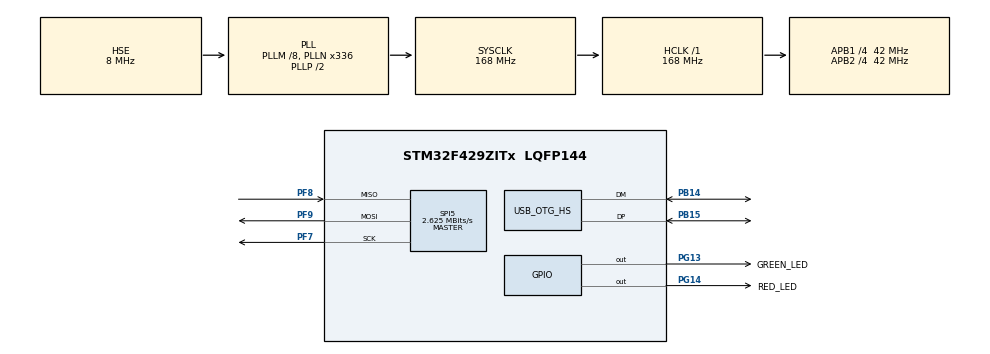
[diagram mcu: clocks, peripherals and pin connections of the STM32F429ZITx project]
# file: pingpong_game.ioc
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FREERTOS.Tasks01=Task01,0,216,Task01_Init,Default,NULL,Dynamic,NULL,NULL;Task02,0,216,Task02_Init,Default,NULL,Dynamic,NULL,NULL;Task03,0,216,Task03_Init,Default,NULL,Dynamic,NULL,NULL;Task04,0,216,Task04_Init,Default,NULL,Dynamic,NULL,NULL;Task05,0,216,Task05_Init,Default,NULL,Dynamic,NULL,NULL
FREERTOS.configUSE_NEWLIB_REENTRANT=1
Mcu.Family=STM32F4
Mcu.Name=STM32F429ZITx
Mcu.Package=LQFP144
NVIC.OTG_HS_IRQn=true\:5\:0\:false\:false\:true\:true\:true\:true\:true
NVIC.PriorityGroup=NVIC_PRIORITYGROUP_4
NVIC.SPI5_IRQn=true\:5\:0\:false\:false\:true\:true\:true\:true\:true
NVIC.TIM6_DAC_IRQn=true\:15\:0\:false\:false\:true\:false\:false\:true\:true
NVIC.TimeBase=TIM6_DAC_IRQn
NVIC.TimeBaseIP=TIM6
PA13.Mode=Serial_Wire
PA13.Signal=SYS_JTMS-SWDIO
PA14.Mode=Serial_Wire
PA14.Signal=SYS_JTCK-SWCLK
PB14.Mode=Device_Only_FS
PB14.Signal=USB_OTG_HS_DM
PB15.Mode=Device_Only_FS
PB15.Signal=USB_OTG_HS_DP
PF7.Mode=Full_Duplex_Master
PF7.Signal=SPI5_SCK
PF8.Mode=Full_Duplex_Master
PF8.Signal=SPI5_MISO
PF9.Mode=Full_Duplex_Master
PF9.Signal=SPI5_MOSI
PG13.GPIO_Label=GREEN_LED
PG13.GPIO_Speed=GPIO_SPEED_FREQ_HIGH
PG13.Signal=GPIO_Output
PG14.GPIO_Label=RED_LED
PG14.GPIO_Speed=GPIO_SPEED_FREQ_HIGH
PG14.Signal=GPIO_Output
PH0/OSC_IN.Mode=HSE-External-Oscillator
PH0/OSC_IN.Signal=RCC_OSC_IN
PH1/OSC_OUT.Mode=HSE-External-Oscillator
PH1/OSC_OUT.Signal=RCC_OSC_OUT
ProjectManager.HeapSize=0x2000
ProjectManager.StackSize=0x4000
ProjectManager.TargetToolchain=STM32CubeIDE
RCC.48MHZClocksFreq_Value=48000000
RCC.AHBFreq_Value=168000000
RCC.APB1CLKDivider=RCC_HCLK_DIV4
RCC.APB1Freq_Value=42000000
RCC.APB1TimFreq_Value=84000000
RCC.APB2CLKDivider=RCC_HCLK_DIV4
RCC.APB2Freq_Value=42000000
RCC.APB2TimFreq_Value=84000000
RCC.CortexFreq_Value=168000000
RCC.HCLKFreq_Value=168000000
RCC.HSE_VALUE=8000000
RCC.HSI_VALUE=16000000
RCC.LSE_VALUE=32768
RCC.PLLM=8
RCC.PLLN=336
RCC.PLLQ=7
RCC.SYSCLKFreq_VALUE=168000000
RCC.SYSCLKSource=RCC_SYSCLKSOURCE_PLLCLK
RCC.VCOOutputFreq_Value=336000000
SPI5.BaudRatePrescaler=SPI_BAUDRATEPRESCALER_16
SPI5.CalculateBaudRate=2.625 MBits/s
SPI5.Direction=SPI_DIRECTION_2LINES
SPI5.Mode=SPI_MODE_MASTER
SPI5.VirtualType=VM_MASTER
USB_DEVICE.CLASS_NAME_HS=CDC
USB_DEVICE.VirtualMode-CDC_HS=Cdc
USB_DEVICE.VirtualModeHS=Cdc_HS
USB_OTG_HS.VirtualMode-Device_Only_FS=Device_Only_FS
VP_FREERTOS_VS_CMSIS_V1.Mode=CMSIS_V1
VP_SYS_VS_tim6.Mode=TIM6
VP_USB_DEVICE_VS_USB_DEVICE_CDC_HS.Mode=CDC_HS
board=custom

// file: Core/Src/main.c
/* USER CODE BEGIN Header */
/**
  ******************************************************************************
  * @file           : main.c
  * @brief          : Main program body
  ******************************************************************************
  * @attention
  *
  * Copyright (c) 2023 STMicroelectronics.
  * All rights reserved.
  *
  * This software is licensed under terms that can be found in the LICENSE file
  * in the root directory of this software component.
  * If no LICENSE file comes with this software, it is provided AS-IS.
  *
  ******************************************************************************
  */
/* USER CODE END Header */
#include "main.h"
#include "cmsis_os.h"
#include "usb_device.h"

/* USER CODE BEGIN Includes */
#include <stdio.h>
#include <stdlib.h>
#include "string.h"
#include "stm32f429i_discovery_sdram.h"
#include "stm32f429i_discovery_lcd.h"
#include "stm32f429i_discovery_gyroscope.h"
#include "usbd_cdc_if.h"
/* USER CODE END Includes */

SPI_HandleTypeDef hspi5;

osThreadId Task01Handle;
osThreadId Task02Handle;
osThreadId Task03Handle;
osThreadId Task04Handle;
osThreadId Task05Handle;
/* USER CODE BEGIN PV */

float xyz_rotation[3]; //rotation 3 axis vars
float xyz_ang_rate[3]; //angle rate vars

uint8_t msg_buf[128] = "Hello gyro\n\r";
int height = 0, compare_height = 0;
int flag = 0;
int count_score = 0,count_height = 25; //khởi tạo biến tính điểm trò chơi
char str[10]; //mang tam chua chuoi diem de chuyen doi int sang char
uint8_t display_score[] = "Score:"; //chuỗi hiển thị điểm số đạt được ra màn hình LCD

int RollY_Value = 160; //truc y tren man hinh lcd nhung gia tri tinh toan cho bien nay la angular rate cua X gyro

//TickType_t initial_time = 0, end_time = 0,diff = 0; //get time to control gyroscope drift control angle

/* USER CODE END PV */

void SystemClock_Config(void);
static void MX_GPIO_Init(void);
static void MX_SPI5_Init(void);
void Task01_Init(void const * argument);
void Task02_Init(void const * argument);
void Task03_Init(void const * argument);
void Task04_Init(void const * argument);
void Task05_Init(void const * argument);

int main(void)
{

  /* MCU Configuration--------------------------------------------------------*/

  /* Reset of all peripherals, Initializes the Flash interface and the Systick. */
  HAL_Init();

  /* Configure the system clock */
  SystemClock_Config();

  /* Initialize all configured peripherals */
  MX_GPIO_Init();
  MX_SPI5_Init();

  /* Create the thread(s) */
  /* definition and creation of Task01 */
  osThreadDef(Task01, Task01_Init, osPriorityAboveNormal, 0, 216);
  Task01Handle = osThreadCreate(osThread(Task01), NULL);

  /* definition and creation of Task02 */
  osThreadDef(Task02, Task02_Init, osPriorityNormal, 0, 216);
  Task02Handle = osThreadCreate(osThread(Task02), NULL);

  /* definition and creation of Task03 */
  osThreadDef(Task03, Task03_Init, osPriorityNormal, 0, 216);
  Task03Handle = osThreadCreate(osThread(Task03), NULL);

  /* definition and creation of Task04 */
  osThreadDef(Task04, Task04_Init, osPriorityAboveNormal, 0, 216);
  Task04Handle = osThreadCreate(osThread(Task04), NULL);

  /* definition and creation of Task04 */
  osThreadDef(Task05, Task05_Init, osPriorityNormal, 0, 216);
  Task05Handle = osThreadCreate(osThread(Task05), NULL);

  /* Start scheduler */
  osKernelStart();

  /* We should never get here as control is now taken by the scheduler */
  /* Infinite loop */
  while (1)
  {

  }
}

void SystemClock_Config(void)
{
  RCC_OscInitTypeDef RCC_OscInitStruct = {0};
  RCC_ClkInitTypeDef RCC_ClkInitStruct = {0};

  /** Configure the main internal regulator output voltage
  */
  __HAL_RCC_PWR_CLK_ENABLE();
  __HAL_PWR_VOLTAGESCALING_CONFIG(PWR_REGULATOR_VOLTAGE_SCALE1);

  /** Initializes the RCC Oscillators according to the specified parameters
  * in the RCC_OscInitTypeDef structure.
  */
  RCC_OscInitStruct.OscillatorType = RCC_OSCILLATORTYPE_HSE;
  RCC_OscInitStruct.HSEState = RCC_HSE_ON;
  RCC_OscInitStruct.PLL.PLLState = RCC_PLL_ON;
  RCC_OscInitStruct.PLL.PLLSource = RCC_PLLSOURCE_HSE;
  RCC_OscInitStruct.PLL.PLLM = 8;
  RCC_OscInitStruct.PLL.PLLN = 336;
  RCC_OscInitStruct.PLL.PLLP = RCC_PLLP_DIV2;
  RCC_OscInitStruct.PLL.PLLQ = 7;
  if (HAL_RCC_OscConfig(&RCC_OscInitStruct) != HAL_OK)
  {
    Error_Handler();
  }

  /** Initializes the CPU, AHB and APB buses clocks
  */
  RCC_ClkInitStruct.ClockType = RCC_CLOCKTYPE_HCLK|RCC_CLOCKTYPE_SYSCLK
                              |RCC_CLOCKTYPE_PCLK1|RCC_CLOCKTYPE_PCLK2;
  RCC_ClkInitStruct.SYSCLKSource = RCC_SYSCLKSOURCE_PLLCLK;
  RCC_ClkInitStruct.AHBCLKDivider = RCC_SYSCLK_DIV1;
  RCC_ClkInitStruct.APB1CLKDivider = RCC_HCLK_DIV4;
  RCC_ClkInitStruct.APB2CLKDivider = RCC_HCLK_DIV4;

  if (HAL_RCC_ClockConfig(&RCC_ClkInitStruct, FLASH_LATENCY_5) != HAL_OK)
  {
    Error_Handler();
  }
}

static void MX_SPI5_Init(void)
{

  /* SPI5 parameter configuration*/
  hspi5.Instance = SPI5;
  hspi5.Init.Mode = SPI_MODE_MASTER;
  hspi5.Init.Direction = SPI_DIRECTION_2LINES;
  hspi5.Init.DataSize = SPI_DATASIZE_8BIT;
  hspi5.Init.CLKPolarity = SPI_POLARITY_LOW;
  hspi5.Init.CLKPhase = SPI_PHASE_1EDGE;
  hspi5.Init.NSS = SPI_NSS_SOFT;
  hspi5.Init.BaudRatePrescaler = SPI_BAUDRATEPRESCALER_16;
  hspi5.Init.FirstBit = SPI_FIRSTBIT_MSB;
  hspi5.Init.TIMode = SPI_TIMODE_DISABLE;
  hspi5.Init.CRCCalculation = SPI_CRCCALCULATION_DISABLE;
  hspi5.Init.CRCPolynomial = 10;
  if (HAL_SPI_Init(&hspi5) != HAL_OK)
  {
    Error_Handler();
  }

}

static void MX_GPIO_Init(void)
{
  GPIO_InitTypeDef GPIO_InitStruct = {0};

  /* GPIO Ports Clock Enable */
  __HAL_RCC_GPIOF_CLK_ENABLE();
  __HAL_RCC_GPIOH_CLK_ENABLE();
  __HAL_RCC_GPIOB_CLK_ENABLE();
  __HAL_RCC_GPIOA_CLK_ENABLE();
  __HAL_RCC_GPIOG_CLK_ENABLE();

  /*Configure GPIO pin Output Level */
  HAL_GPIO_WritePin(GPIOG, GREEN_LED_Pin|RED_LED_Pin, GPIO_PIN_RESET);

  /*Configure GPIO pins : GREEN_LED_Pin RED_LED_Pin */
  GPIO_InitStruct.Pin = GREEN_LED_Pin|RED_LED_Pin;
  GPIO_InitStruct.Mode = GPIO_MODE_OUTPUT_PP;
  GPIO_InitStruct.Pull = GPIO_NOPULL;
  GPIO_InitStruct.Speed = GPIO_SPEED_FREQ_HIGH;
  HAL_GPIO_Init(GPIOG, &GPIO_InitStruct);

}

void Task01_Init(void const * argument)
{
  /* init code for USB_DEVICE */
	MX_USB_DEVICE_Init();
  /* USER CODE BEGIN 5 */
  /* Infinite loop */

  //Init Gyro
    BSP_GYRO_Init();

  //Init LCD
	BSP_LCD_Init();

 //thiet lap cac thong so mac dinh ban dau cho viec hien thi ra man hinh LCD
	BSP_LCD_LayerDefaultInit(1,SDRAM_DEVICE_ADDR);
	BSP_LCD_SelectLayer(1);
	BSP_LCD_DisplayOn();
	BSP_LCD_Clear(LCD_COLOR_DARKGREEN);
	BSP_LCD_SetBackColor(LCD_COLOR_DARKGREEN);
	BSP_LCD_SetTextColor(LCD_COLOR_WHITE);

	BSP_LCD_SetFont(&Font20); //set kich thuoc font cho viec hien thi text ra man hinh LCD
	BSP_LCD_GetFont();

  for(;;)
  {
	 //lay gia tri toa do goc tu gyroscope
	  BSP_GYRO_GetXYZ(xyz_rotation);

	  for(int i = 0;i<3;i++)
	  {
		  xyz_ang_rate[i] = (xyz_rotation[i]/2000)*70; //lay angular rate
	  }

	  osDelay(100);
  }
  /* USER CODE END 5 */
}

void Task02_Init(void const * argument)
{
  /* USER CODE BEGIN Task02_Init */

  /* Infinite loop */
  for(;;)
  {

    if(xyz_ang_rate[0] >= 0){

    if(xyz_ang_rate[0] <= 25) //trang thai luc bong chua duoc tang - trang thai can bang
    {
    	BSP_LCD_Clear(LCD_COLOR_DARKGREEN);
    	BSP_LCD_DrawCircle(BSP_LCD_GetXSize() - 120, 160, 25);
    	BSP_LCD_FillCircle(BSP_LCD_GetXSize() - 120, 160, 25);

    	sprintf(str,"%d",count_score);
    	//hien thi diem dat duoc tren man hinh
    	//noi ket chuoi
    	BSP_LCD_DisplayStringAt(11,13,display_score,LEFT_MODE);
    	BSP_LCD_DisplayStringAt(100,13,(uint8_t*)str,LEFT_MODE);

    	osDelay(50);

    }
    else //truong hop bong da duoc tang len
    {
    	//phu thuoc vao muc do tang bong tuc la lay tu angular rate x quyet dinh do to cua bong
    	//do to cua bong cung chinh la khoang cach giua mat vot voi diem can bang
    	//luc nay cho bong duoc tang len max roi tu tu ha xuong den diem can bang
    	height = fabs(xyz_ang_rate[0])/30 + 25;

    	//neu height qua lon chung ta se set max height, tranh truong hop bong vuot ra ngoai pham vi cho phep
    	if(height > 110)
    	{
    		height = 110; //ep height khong vuot tam
    	}
    	//-- ket thuc set max height

    	flag = 1; //flag co de nhan biet khi nao bong duoc tang len va tinh diem
    	while(height!=25){

    		if(count_height == height) break;

    		++count_height;

    		BSP_LCD_Clear(LCD_COLOR_DARKGREEN);
    		BSP_LCD_DrawCircle(BSP_LCD_GetXSize() - 120, RollY_Value, count_height);
    		BSP_LCD_FillCircle(BSP_LCD_GetXSize() - 120, RollY_Value, count_height);

    		BSP_LCD_DisplayStringAt(11,13,display_score,LEFT_MODE);
    		BSP_LCD_DisplayStringAt(100,13,(uint8_t*)str,LEFT_MODE);

    		osDelay(10);

    		} //end while

    	while(count_height != 25)
    	{
    		count_height--;
    		BSP_LCD_Clear(LCD_COLOR_DARKGREEN);
    		BSP_LCD_DrawCircle(BSP_LCD_GetXSize() - 120, RollY_Value, count_height);
    		BSP_LCD_FillCircle(BSP_LCD_GetXSize() - 120, RollY_Value, count_height);

    		sprintf(str,"%d",count_score);
    		//hien thi diem dat duoc tren man hinh
    		BSP_LCD_DisplayStringAt(11,13,display_score,LEFT_MODE);
    		BSP_LCD_DisplayStringAt(100,13,(uint8_t*)str,LEFT_MODE);
    		osDelay(10);
    	}
    	count_height = 25; //reset lai bien dem do do cao bong
    	}
	}
	  osDelay(1);
  }
  /* USER CODE END Task02_Init */
}

void Task03_Init(void const * argument)
{
  /* USER CODE BEGIN Task03_Init */
  /* Infinite loop */
  for(;;)
  {
	sprintf(msg_buf,"Do cao bong:%d\n", count_height);
  	CDC_Transmit_HS(msg_buf,strlen((const char*)msg_buf));
    osDelay(100); // cu 100ms xuat do cao bong 1 lan
  }
  /* USER CODE END Task03_Init */
}

void Task04_Init(void const * argument)
{
  /* USER CODE BEGIN Task04_Init */
  /* Infinite loop */
  for(;;)
  {

	if(height >= 40 && height <= 110 && flag == 1)
	{
		++count_score;
		HAL_GPIO_WritePin(GPIOG, GPIO_PIN_13, GPIO_PIN_SET);
		osDelay(1700);
		HAL_GPIO_WritePin(GPIOG, GPIO_PIN_13, GPIO_PIN_RESET);

		  flag = 0;
			//get current height
			compare_height = fabs(xyz_ang_rate[0])/30 + 25;

			//neu height qua lon chung ta se set max height, tranh truong hop bong vuot ra ngoai pham vi cho phep
			if(compare_height > 110)
			{
			    compare_height = 110; //ep height khong vuot tam
			}
			//-- ket thuc set max height
			if(compare_height >= 60)
			{
				//---- GAME OVER SCREEN ----
				//BEGIN
				    BSP_LCD_Clear(LCD_COLOR_RED);
				    BSP_LCD_SetBackColor(LCD_COLOR_RED);
				    BSP_LCD_DisplayStringAt(1, 130, "GAME OVER", CENTER_MODE);

				    BSP_LCD_DisplayStringAt(1,150,display_score,CENTER_MODE);
				    BSP_LCD_DisplayStringAt(1,175,(uint8_t*)str,CENTER_MODE);

				 //END

				    //turn on RED LED
				    HAL_GPIO_WritePin(GPIOG, GPIO_PIN_14, GPIO_PIN_SET);

				    vTaskDelete(Task01_Init); //Xóa đi các task sau khi game over chỉ giữ lại mỗi task4 để hiển thị 'GAME OVER'
				    vTaskDelete(Task02_Init);
				    vTaskDelete(Task03_Init);
			}

	}
	osDelay(1);
  }
  /* USER CODE END Task04_Init */
}

void Task05_Init(void const * argument)
{
  /* USER CODE BEGIN Task05_Init */
	//Task05 dung de lan bong theo chieu nang kit
	//giai thuat hom truoc minh tinh angle lay truoc tru sau ra duoc xap xi 100 do co khi lai dung vi neu tinh
	//theo thuoc do do thi neu KIT nam nhu the kha nang cao tu 90 do den 100 do hon co ve chinh xac
	/* Infinite loop */
  for(;;)
  {
	//Version1: sử dụng trực tiếp angular rate tu tinh
	if(xyz_ang_rate >= 180 && xyz_ang_rate[0] <= 190) //trang thai lan can bang
	{
		RollY_Value = 160;
	}

	if(xyz_ang_rate[0]> 190) //phat hien KIT nghieng thi bat dau lan banh
	{
		++RollY_Value;
		if(RollY_Value==295)
		{
			RollY_Value = 160;
		}
	}

    osDelay(50);
  }
  /* USER CODE END Task05_Init */
}

void HAL_TIM_PeriodElapsedCallback(TIM_HandleTypeDef *htim)
{
  if (htim->Instance == TIM6) {
    HAL_IncTick();
  }
}

void Error_Handler(void)
{
  __disable_irq();
  while (1)
  {
  }
}
